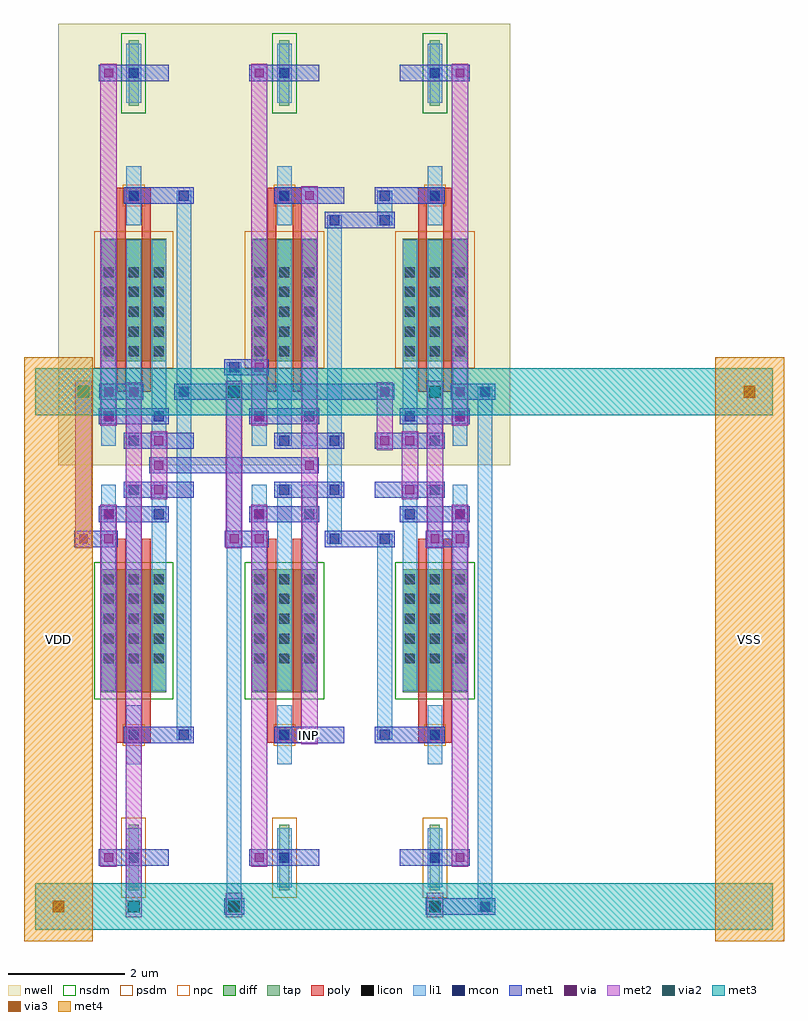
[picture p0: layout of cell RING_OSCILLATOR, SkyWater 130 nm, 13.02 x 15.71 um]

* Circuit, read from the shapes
.subckt RING_OSCILLATOR INP VDD VSS
XM1 INP n1 VSS VSS sky130_fd_pr__nfet_01v8 w=2.1 l=0.15 m=2
XM2 n2 INP VSS VSS sky130_fd_pr__nfet_01v8 w=2.1 l=0.15 m=2
XM3 n1 n2 VSS VSS sky130_fd_pr__nfet_01v8 w=2.1 l=0.15 m=2
XM4 INP n1 VDD VDD sky130_fd_pr__pfet_01v8 w=2.1 l=0.15 m=2
XM5 n2 INP VDD VDD sky130_fd_pr__pfet_01v8 w=2.1 l=0.15 m=2
XM6 n1 n2 VDD VDD sky130_fd_pr__pfet_01v8 w=2.1 l=0.15 m=2
.ends

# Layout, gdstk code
import gdstk
lib = gdstk.Library(unit=1e-6, precision=1e-09)
def R(c, l, rs):  # rectangles x0, y0, x1, y1
    for r in rs: c.add(gdstk.rectangle(r[:2], r[2:], *l))
def A(c, l, x, y, w, h, nx, ny, dx, dy):  # array of equal rectangles
    R(c, l, [(x+i*dx, y+j*dy, x+i*dx+w, y+j*dy+h) for i in range(nx) for j in range(ny)])
nwell = (64, 20)
diff = (65, 20)
tap = (65, 44)
poly = (66, 20)
licon = (66, 44)
li1 = (67, 20)
mcon = (67, 44)
met1 = (68, 20)
via = (68, 44)
met2 = (69, 20)
via2 = (69, 44)
met3 = (70, 20)
via3 = (70, 44)
met4 = (71, 20)
nsdm = (93, 44)
psdm = (94, 20)
npc = (95, 20)

ring_oscillator = lib.new_cell('RING_OSCILLATOR')
R(ring_oscillator, nwell, [(0,7.56,7.74,15.12)])
A(ring_oscillator, diff, 0.735, 3.675, 1.11, 2.1, 3, 2, 2.58, 5.67)
A(ring_oscillator, tap, 1.205, 0.28, 0.17, 1.12, 3, 2, 2.58, 13.44)
A(ring_oscillator, poly, 1, 2.805, 0.58, 0.27, 3, 2, 2.58, 9.24)
R(ring_oscillator, poly, [(1,3.075,1.15,6.3), (1.43,3.075,1.58,6.3), (3.58,3.075,3.73,6.3), (4.01,3.075,4.16,6.3), (6.16,3.075,6.31,6.3), (6.59,3.075,6.74,6.3), (1,8.82,1.15,12.045), (1.43,8.82,1.58,12.045), (3.58,8.82,3.73,12.045), (4.01,8.82,4.16,12.045), (6.16,8.82,6.31,12.045), (6.59,8.82,6.74,12.045)])
A(ring_oscillator, licon, 1.205, 0.755, 0.17, 0.17, 3, 2, 2.58, 2.1)
A(ring_oscillator, licon, 0.775, 4.165, 0.17, 0.17, 3, 5, 0.43, 0.34)
A(ring_oscillator, licon, 3.355, 4.165, 0.17, 0.17, 3, 5, 0.43, 0.34)
A(ring_oscillator, licon, 5.935, 4.165, 0.17, 0.17, 3, 5, 0.43, 0.34)
A(ring_oscillator, licon, 0.775, 9.425, 0.17, 0.17, 3, 5, 0.43, 0.34)
A(ring_oscillator, licon, 3.355, 9.425, 0.17, 0.17, 3, 5, 0.43, 0.34)
A(ring_oscillator, licon, 5.935, 9.425, 0.17, 0.17, 3, 5, 0.43, 0.34)
A(ring_oscillator, licon, 1.205, 12.095, 0.17, 0.17, 3, 2, 2.58, 2.1)
A(ring_oscillator, li1, 1.165, 0.335, 0.25, 1.01, 3, 2, 2.58, 2.1)
A(ring_oscillator, li1, 0.735, 3.695, 0.25, 3.53, 3, 2, 0.43, 4.2)
A(ring_oscillator, li1, 3.315, 3.695, 0.25, 3.53, 3, 2, 0.43, 4.2)
A(ring_oscillator, li1, 5.895, 3.695, 0.25, 3.53, 3, 2, 0.43, 4.2)
A(ring_oscillator, li1, 1.165, 11.675, 0.25, 1.01, 3, 2, 2.58, 2.1)
R(ring_oscillator, li1, [(2.885,-0.085,3.135,9.325), (7.185,-0.085,7.435,8.905), (2.025,2.855,2.275,12.265), (5.465,2.855,5.715,6.385), (4.605,6.215,4.855,11.845), (5.465,11.675,5.715,12.265)])
A(ring_oscillator, mcon, 1.205, 0.755, 0.17, 0.17, 3, 2, 2.58, 13.44)
A(ring_oscillator, mcon, 2.065, 2.855, 0.17, 0.17, 3, 2, 1.72, 9.24)
A(ring_oscillator, mcon, 4.645, 6.215, 0.17, 0.17, 1, 3, 0, 0.84)
R(ring_oscillator, mcon, [(2.925,-0.085,3.095,0.085), (7.225,-0.085,7.395,0.085), (1.205,2.855,1.375,3.025), (6.365,2.855,6.535,3.025), (5.505,6.215,5.675,6.385), (0.775,6.635,0.945,6.805), (1.635,6.635,1.805,6.805), (3.355,6.635,3.525,6.805), (4.215,6.635,4.385,6.805), (5.935,6.635,6.105,6.805), (6.795,6.635,6.965,6.805), (1.205,7.055,1.375,7.225), (3.785,7.055,3.955,7.225), (6.365,7.055,6.535,7.225), (1.205,7.895,1.375,8.065), (3.785,7.895,3.955,8.065), (6.365,7.895,6.535,8.065), (0.775,8.315,0.945,8.485), (1.635,8.315,1.805,8.485), (3.355,8.315,3.525,8.485), (4.215,8.315,4.385,8.485), (5.935,8.315,6.105,8.485), (6.795,8.315,6.965,8.485), (2.065,8.735,2.235,8.905), (7.225,8.735,7.395,8.905), (2.925,9.155,3.095,9.325), (4.645,11.675,4.815,11.845), (5.505,11.675,5.675,11.845), (1.205,12.095,1.375,12.265), (6.365,12.095,6.535,12.265)])
A(ring_oscillator, met1, 0.69, 0.7, 1.2, 0.28, 3, 2, 2.58, 5.88)
A(ring_oscillator, met1, 0.69, 8.26, 1.2, 0.28, 3, 2, 2.58, 5.88)
R(ring_oscillator, met1, [(2.84,-0.14,3.18,0.14), (6.29,-0.14,7.48,0.14), (1.12,2.8,2.32,3.08), (3.7,2.8,4.9,3.08), (5.42,2.8,6.62,3.08), (0.27,6.16,1.02,6.44), (2.85,6.16,3.6,6.44), (4.56,6.16,5.76,6.44), (6.29,6.16,7.04,6.44), (1.12,7,2.32,7.28), (3.7,7,4.9,7.28), (5.42,7,6.62,7.28), (1.56,7.42,4.46,7.7), (1.12,7.84,2.32,8.12), (3.7,7.84,4.9,8.12), (5.42,7.84,6.62,8.12), (0.7,8.68,1.45,8.96), (1.98,8.68,5.75,8.96), (6.72,8.68,7.48,8.96), (2.84,9.1,3.6,9.38), (4.56,11.62,5.76,11.9), (1.12,12.04,2.32,12.32), (3.7,12.04,4.9,12.32), (5.42,12.04,6.62,12.32)])
A(ring_oscillator, via, 4.225, 2.865, 0.15, 0.15, 1, 3, 0, 4.62)
A(ring_oscillator, via, 1.645, 7.065, 0.15, 0.15, 1, 3, 0, 0.42)
R(ring_oscillator, via, [(2.935,-0.075,3.085,0.075), (6.375,-0.075,6.525,0.075), (0.785,0.765,0.935,0.915), (3.365,0.765,3.515,0.915), (6.805,0.765,6.955,0.915), (0.355,6.225,0.505,6.375), (0.785,6.225,0.935,6.375), (2.935,6.225,3.085,6.375), (3.365,6.225,3.515,6.375), (6.375,6.225,6.525,6.375), (6.805,6.225,6.955,6.375), (0.785,6.645,0.935,6.795), (3.365,6.645,3.515,6.795), (6.805,6.645,6.955,6.795), (5.945,7.065,6.095,7.215), (5.515,7.905,5.665,8.055), (5.945,7.905,6.095,8.055), (0.785,8.325,0.935,8.475), (3.365,8.325,3.515,8.475), (6.805,8.325,6.955,8.475), (0.785,8.745,0.935,8.895), (1.215,8.745,1.365,8.895), (5.515,8.745,5.665,8.895), (6.805,8.745,6.955,8.895), (3.365,9.165,3.515,9.315), (0.785,14.205,0.935,14.355), (3.365,14.205,3.515,14.355), (6.805,14.205,6.955,14.355)])
R(ring_oscillator, met2, [(1.15,-0.185,1.43,8.98), (2.87,-0.185,3.15,0.24), (6.31,-0.185,6.59,0.24), (0.72,0.68,1,6.88), (3.3,0.68,3.58,6.88), (6.74,0.68,7.02,6.88), (4.16,2.78,4.44,12.34), (0.29,6.14,0.57,9.005), (2.87,6.14,3.15,9.005), (6.31,6.14,6.59,9.005), (1.58,6.98,1.86,8.14), (5.88,6.98,6.16,8.14), (5.45,7.82,5.73,8.98), (0.72,8.24,1,14.44), (3.3,8.24,3.58,14.44), (6.74,8.24,7.02,14.44)])
R(ring_oscillator, via2, [(1.19,-0.1,1.39,0.1), (2.91,-0.1,3.11,0.1), (6.35,-0.1,6.55,0.1), (0.33,8.72,0.53,8.92), (2.91,8.72,3.11,8.92), (6.35,8.72,6.55,8.92)])
R(ring_oscillator, met3, [(-0.4,-0.4,12.24,0.4), (-0.4,8.42,12.24,9.22)])
R(ring_oscillator, via3, [(-0.1,-0.1,0.1,0.1), (11.74,8.72,11.94,8.92)])
R(ring_oscillator, met4, [(-0.59,-0.59,0.59,9.41), (11.25,-0.59,12.43,9.41)])
A(ring_oscillator, nsdm, 0.61, 3.55, 1.36, 2.35, 3, 1, 2.58, 0)
A(ring_oscillator, nsdm, 1.08, 13.595, 0.42, 1.37, 3, 1, 2.58, 0)
A(ring_oscillator, psdm, 1.08, 0.155, 0.42, 1.37, 3, 1, 2.58, 0)
A(ring_oscillator, psdm, 0.61, 9.22, 1.36, 2.35, 3, 1, 2.58, 0)
A(ring_oscillator, npc, 1.105, 2.755, 0.37, 0.37, 3, 2, 2.58, 9.24)
ring_oscillator.add(gdstk.Label('VDD', (0,4.58), layer=71, texttype=5))
ring_oscillator.add(gdstk.Label('VSS', (11.84,4.58), layer=71, texttype=5))
ring_oscillator.add(gdstk.Label('INP', (4.28,2.93), layer=69, texttype=5))

lib.write_gds('RING_OSCILLATOR.gds')
